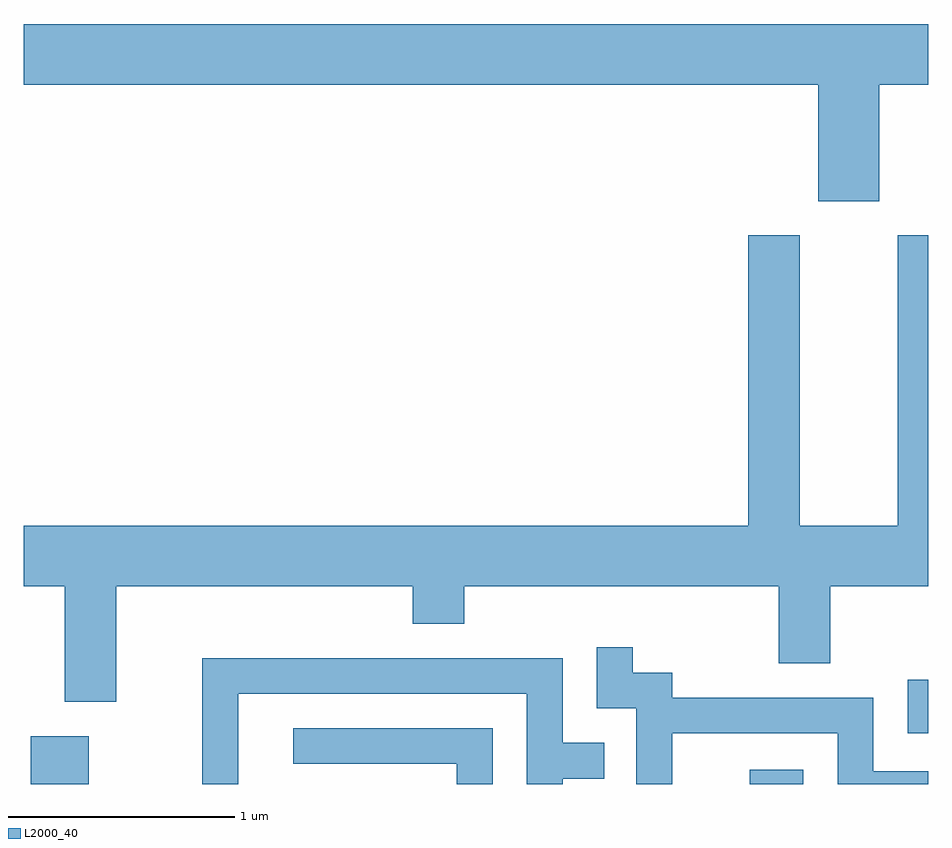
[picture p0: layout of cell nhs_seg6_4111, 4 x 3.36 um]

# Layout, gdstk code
import gdstk
lib = gdstk.Library(unit=1e-6, precision=1e-09)
def R(c, l, rs):  # rectangles x0, y0, x1, y1
    for r in rs: c.add(gdstk.rectangle(r[:2], r[2:], *l))
def P(c, l, *ps):  # polygons
    for p in ps: c.add(gdstk.Polygon(p, *l))
L2000_40 = (2000, 40)

nhs_seg6_4111 = lib.new_cell('nhs_seg6_4111')
R(nhs_seg6_4111, L2000_40, [(309.641,1660.162,309.899,1660.374), (312.823,1660.162,313.059,1660.224), (313.521,1660.386,313.611,1660.623)])
P(nhs_seg6_4111, L2000_40, [(313.394,1663.256),(313.611,1663.256),(313.611,1663.524),(309.611,1663.524),(309.611,1663.256),(313.126,1663.256),(313.126,1662.741),(313.394,1662.741)],
  [(310.019,1661.036),(311.331,1661.036),(311.331,1660.871),(311.559,1660.871),(311.559,1661.036),(312.951,1661.036),(312.951,1660.696),(313.179,1660.696),(313.179,1661.036),(313.611,1661.036),(313.611,1662.589),(313.476,1662.589),(313.476,1661.304),(313.044,1661.304),(313.044,1662.589),(312.816,1662.589),(312.816,1661.304),(309.611,1661.304),(309.611,1661.036),(309.791,1661.036),(309.791,1660.526),(310.019,1660.526)],
  [(312.479,1660.386),(313.211,1660.386),(313.211,1660.162),(313.611,1660.162),(313.611,1660.219),(313.369,1660.219),(313.369,1660.544),(312.479,1660.544),(312.479,1660.654),(312.304,1660.654),(312.304,1660.768),(312.146,1660.768),(312.146,1660.496),(312.321,1660.496),(312.321,1660.162),(312.479,1660.162)],
  [(310.559,1660.561),(311.836,1660.561),(311.836,1660.162),(311.994,1660.162),(311.994,1660.186),(312.178,1660.186),(312.178,1660.344),(311.994,1660.344),(311.994,1660.719),(310.401,1660.719),(310.401,1660.162),(310.559,1660.162)],
  [(311.684,1660.409),(310.803,1660.409),(310.803,1660.251),(311.526,1660.251),(311.526,1660.162),(311.684,1660.162)])

lib.write_gds('nhs_seg6_4111.gds')
